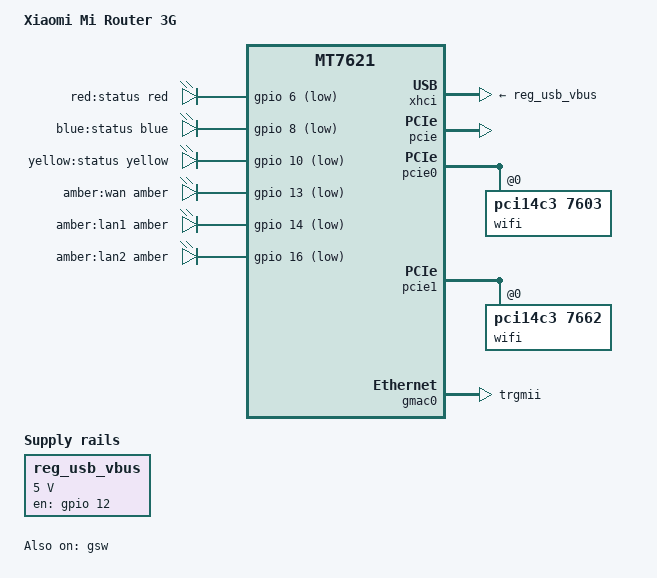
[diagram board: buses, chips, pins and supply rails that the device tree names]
#include "mt7621_xiaomi_nand_128m.dtsi"
#include <dt-bindings/leds/common.h>

/ {
	compatible = "xiaomi,mi-router-3g", "mediatek,mt7621-soc";
	model = "Xiaomi Mi Router 3G";

	aliases {
		led-boot = &led_status_yellow;
		led-failsafe = &led_status_red;
		led-running = &led_status_blue;
		led-upgrade = &led_status_yellow;
		label-mac-device = &gmac0;
	};

	leds {
		compatible = "gpio-leds";

		led_status_red: led-0 {
			label = "red:status";
			color = <LED_COLOR_ID_RED>;
			function = LED_FUNCTION_STATUS;
			gpios = <&gpio 6 GPIO_ACTIVE_LOW>;
		};

		led_status_blue: led-1 {
			label = "blue:status";
			color = <LED_COLOR_ID_BLUE>;
			function = LED_FUNCTION_STATUS;
			gpios = <&gpio 8 GPIO_ACTIVE_LOW>;
		};

		led_status_yellow: led-2 {
			label = "yellow:status";
			color = <LED_COLOR_ID_YELLOW>;
			function = LED_FUNCTION_STATUS;
			gpios = <&gpio 10 GPIO_ACTIVE_LOW>;
		};

		led-3 {
			label = "amber:wan";
			color = <LED_COLOR_ID_AMBER>;
			function = LED_FUNCTION_WAN;
			gpios = <&gpio 13 GPIO_ACTIVE_LOW>;
			linux,default-trigger = "mt7530-0:01:1Gbps";
		};

		led-4 {
			label = "amber:lan1";
			color = <LED_COLOR_ID_AMBER>;
			function = LED_FUNCTION_LAN;
			function-enumerator = <1>;
			gpios = <&gpio 14 GPIO_ACTIVE_LOW>;
			linux,default-trigger = "mt7530-0:03:1Gbps";
		};

		led-5 {
			label = "amber:lan2";
			color = <LED_COLOR_ID_AMBER>;
			function = LED_FUNCTION_LAN;
			function-enumerator = <2>;
			gpios = <&gpio 16 GPIO_ACTIVE_LOW>;
			linux,default-trigger = "mt7530-0:02:1Gbps";
		};
	};

	reg_usb_vbus: regulator {
		compatible = "regulator-fixed";
		regulator-name = "usb_vbus";
		regulator-min-microvolt = <5000000>;
		regulator-max-microvolt = <5000000>;
		gpio = <&gpio 12 GPIO_ACTIVE_HIGH>;
		enable-active-high;
	};
};

&xhci {
	vbus-supply = <&reg_usb_vbus>;
};

&pcie {
	status = "okay";
};

&pcie0 {
	wifi@0,0 {
		compatible = "pci14c3,7603";
		reg = <0x0000 0 0 0 0>;
		mediatek,mtd-eeprom = <&factory 0x0000>;
		ieee80211-freq-limit = <2400000 2500000>;
	};
};

&pcie1 {
	wifi@0,0 {
		compatible = "pci14c3,7662";
		reg = <0x0000 0 0 0 0>;
		mediatek,mtd-eeprom = <&factory 0x8000>;
		ieee80211-freq-limit = <5000000 6000000>;
	};
};

&gmac0 {
	nvmem-cells = <&macaddr_factory_e006>;
	nvmem-cell-names = "mac-address";
	phy-mode = "trgmii";
};

&switch0 {
	/* must delete compatible property */
	/delete-property/ compatible;
};

&gsw {
	compatible = "mediatek,mt753x";
	status = "okay";

	mediatek,mdio = <&mdio>;
	mediatek,portmap = "lwlll";
	mt7530,direct-phy-access;
	resets = <&rstctrl 2>;
	reset-names = "mcm";
	mediatek,mcm;

	#address-cells = <1>;
	#size-cells = <0>;

	/*
	port5: port@5 {
		compatible = "mediatek,mt753x-port";
		reg = <5>;
		phy-mode = "rgmii";
		fixed-link {
			speed = <1000>;
			full-duplex;
		};
	};
	*/

	port6: port@6 {
		compatible = "mediatek,mt753x-port";
		reg = <6>;
		phy-mode = "trgmii";
		fixed-link {
			speed = <1000>;
			full-duplex;
		};
	};
};

&state_default {
	gpio {
		groups = "jtag", "uart2", "uart3", "wdt";
		function = "gpio";
	};
};

&factory {
	compatible = "nvmem-cells";
	#address-cells = <1>;
	#size-cells = <1>;

	macaddr_factory_e000: macaddr@e000 {
		reg = <0xe000 0x6>;
	};

	macaddr_factory_e006: macaddr@e006 {
		reg = <0xe006 0x6>;
	};
};
